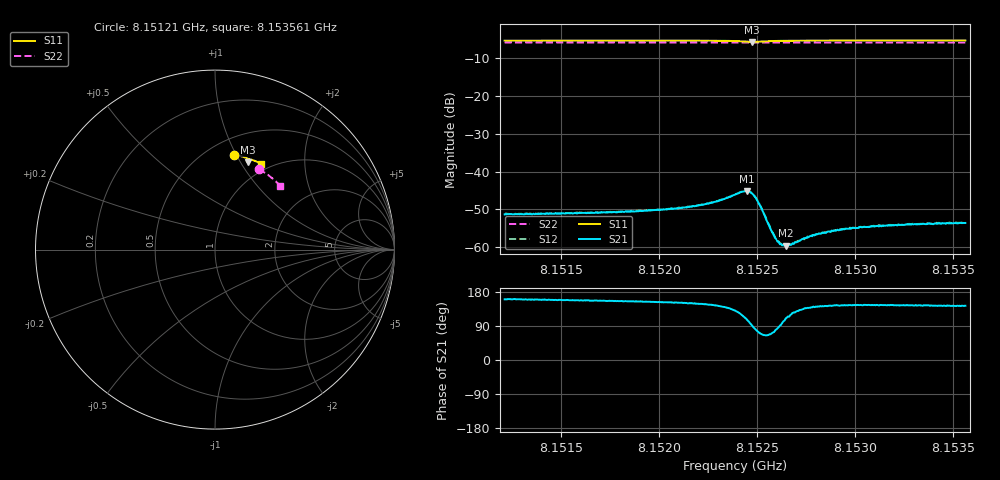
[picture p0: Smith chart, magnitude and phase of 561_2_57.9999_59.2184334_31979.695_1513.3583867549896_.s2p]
#  HZ  S  RI  R  50.00
! Rohde & Schwarz Vector Network Analyzer
! Rohde-Schwarz,ZNB20-2Port,1311601062101988,3.16
! Created: UTC 3/21/2024, 1:15:25 AM
! freq[Hz]  re:S11  im:S11  re:S21  im:S21  re:S12  im:S12  re:S22  im:S22
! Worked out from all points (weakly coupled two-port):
!   401 points, 8.15121 GHz to 8.153561 GHz, reference 50 ohm
!   highest |S21| = -45.17 dB at 8.152444 GHz (marker M1); lowest = -59.6 dB at 8.152644 GHz (marker M2)
!   lowest |S11| = -5.7 dB at 8.152474 GHz (marker M3), VSWR 3.16, Z = 40.2 + j53.7 ohm
!   |S11| at or under -10 dB: nowhere
!   |S22| runs from -5.9 to -5.8 dB; largest |S21 - S12| = 0.00011
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8.1512098e9  0.1047 0.5294  -0.00255 0.000919  -0.00256 0.000935  0.2453 0.4486
8.1516036e9  0.1321 0.5238  -0.00263 0.00109  -0.00263 0.00112  0.2671 0.4357
8.1519975e9  0.1596 0.5164  -0.00276 0.0014  -0.00275 0.00147  0.2879 0.4215
8.1520975e9  0.167 0.5139  -0.00287 0.00156  -0.0029 0.00165  0.2931 0.4178
8.1522209e9  0.1765 0.51  -0.00307 0.00193  -0.00308 0.00201  0.2994 0.4129
8.1523032e9  0.1834 0.5061  -0.00326 0.00251  -0.00327 0.00257  0.3036 0.4096
8.1523855e9  0.1899 0.4982  -0.00322 0.00377  -0.00317 0.00386  0.3075 0.4062
8.1524208e9  0.1902 0.4926  -0.00259 0.00474  -0.00254 0.0048  0.3093 0.4046
8.1524443e9  0.1878 0.4886  -0.0017 0.00525  -0.00163 0.00529  0.3103 0.4036
8.1524737e9  0.1817 0.4869  -3.81e-05 0.0051  3.42e-05 0.00515  0.3113 0.4026
8.1524914e9  0.1785 0.4892  0.000759 0.00443  0.000806 0.00445  0.312 0.402
8.152509e9  0.177 0.4926  0.00115 0.00354  0.00121 0.00355  0.313 0.4014
8.1525619e9  0.1808 0.5005  0.000713 0.00172  0.000796 0.00174  0.3157 0.3996
8.1525913e9  0.1842 0.5024  0.000261 0.00129  0.000305 0.00129  0.3172 0.3985
8.1526148e9  0.1871 0.503  -8.8e-06 0.00109  -4.72e-06 0.00114  0.3186 0.3976
8.1526442e9  0.1903 0.5031  -0.000348 0.000988  -0.000333 0.00102  0.3199 0.3963
8.1526736e9  0.1933 0.503  -0.000555 0.000922  -0.000569 0.000942  0.3214 0.3952
8.1527794e9  0.2025 0.5012  -0.00105 0.000916  -0.00109 0.00094  0.3266 0.3909
8.1528676e9  0.2092 0.499  -0.00129 0.000953  -0.00124 0.001  0.3309 0.3871
8.152944e9  0.2149 0.497  -0.00141 0.000997  -0.00142 0.00103  0.3346 0.3839
8.1531733e9  0.2305 0.4908  -0.00157 0.00113  -0.0016 0.00116  0.3452 0.3738
8.1535613e9  0.2554 0.4791  -0.00167 0.00126  -0.00166 0.00132  0.3624 0.3563
